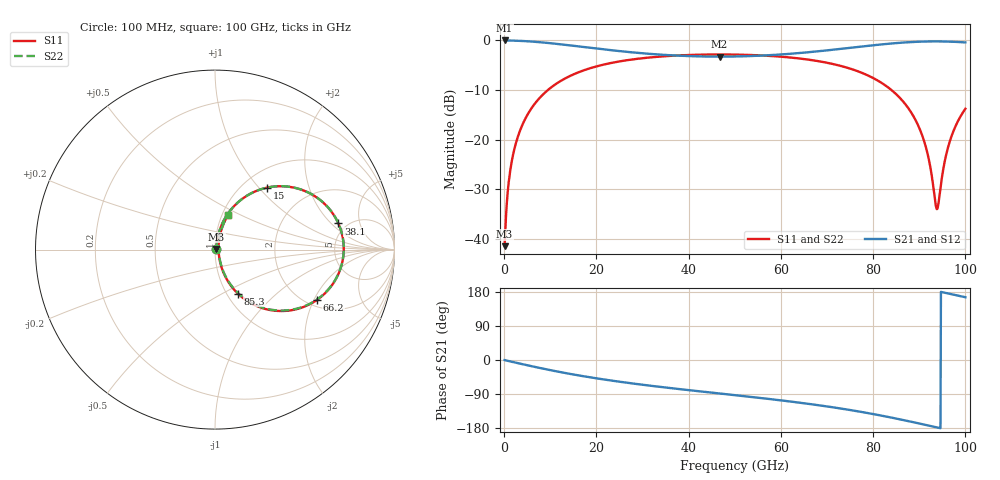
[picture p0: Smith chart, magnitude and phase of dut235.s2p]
! Touchstone file exported from HFSS 2026.1.0
!  File:  C:/ffzhzh/LocalFiles/Ansys_Project_Files/temp_train_RDL_235_1783501242_55944.aedt
!  Generated:  05:02:01 PM Jul  8, 2026
!  Design:  RDL
!  Project:  temp_train_RDL_235_1783501242_55944
! Variables:
!  h_bsmrdl = 2um
!  h_ox = 20um
!  h_rdl = 5um
!  h_sub = 80um
!  h_tmrdl = 2.74um
!  h_tsv = 80um
!  h_via = 3um
!  l_bsmrdl = 300um
!  l_sub = 1036.58um
!  l_tmrdl = 636.58um
!  m_sub = 200um
!  pitch = 46.65um
!  r_tsv = 6um
!  s_tmrdl = 10um
!  w_bsmrdl = 18um
!  w_sub = 500um
!  w_tmrdl = 10.79um
!  x_tsv_center1 = 641.975um
!  x_tsv_center2 = 959.975um
!  x_tsv_center3 = 1607.345um
!  x_tsv_center4 = 1925.345um
!  x_tsv_center5 = 2572.715um
!  x_tsv_center6 = 2890.715um
# GHz S MA R 50.000000
! Terminal data exported
! Port[1] = TM_RDL1_1_T1
! Port[2] = TM_RDL1_1_T2
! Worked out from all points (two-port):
!   1000 points, 100 MHz to 100 GHz, reference 50 ohm
!   highest |S21| = -0.07 dB at 100 MHz (marker M1); lowest = -3.3 dB at 46.7 GHz (marker M2)
!   |S21| within 3 dB of the highest: start of sweep to 36.55 GHz; 56.8 GHz to end of sweep
!   lowest |S11| = -41.4 dB at 100 MHz (marker M3), VSWR 1.02, Z = 50.8 + j0.378 ohm
!   |S11| at or under -10 dB: start of sweep to 9.533 GHz; 83.92 GHz to end of sweep
!   |S22| runs from -41.4 to -2.9 dB; largest |S21 - S12| = 1.8e-14
!   S11 on the Smith chart (normalised r, x): 100 MHz: 1.02, +0.01; 15 GHz: 1.28, +1.11; 38.1 GHz: 4.25, +2.45; 66.2 GHz: 2.27, -2.12; 85.3 GHz: 1.13, -0.60; 100 GHz: 1.07, +0.43
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0.1  0.008472 26.1  0.9924 -0.3  0.9924 -0.3  0.008472 26.1
! Gamma 0 0 0 0
! Port Impedance 50 0 50 0
0.9  0.03412 73.3  0.9911 -2.6  0.9911 -2.6  0.03411 73.3
1.5  0.05516 76.6  0.9897 -4.2  0.9897 -4.2  0.05516 76.6
3.9  0.1387 75.1  0.9806 -10.9  0.9806 -10.9  0.1387 75.1
8.3  0.2804 65.1  0.948 -22.5  0.948 -22.5  0.2804 65.1
15  0.4517 49.9  0.8774 -38.2  0.8774 -38.2  0.4517 49.9
16.8  0.4881 46.2  0.8575 -42.0  0.8575 -42.0  0.4881 46.2
33.4  0.6808 18.4  0.7171 -70.3  0.7171 -70.3  0.6808 18.6
38.1  0.7026 12.0  0.6968 -76.9  0.6968 -76.9  0.7025 12.1
46.7  0.7175 0.8  0.6825 -88.4  0.6825 -88.4  0.7175 1.0
50.1  0.7154 -3.6  0.6848 -92.8  0.6848 -92.8  0.7153 -3.4
66.2  0.6343 -26.1  0.7573 -116.1  0.7573 -116.1  0.6342 -25.8
66.7  0.6294 -26.9  0.7612 -116.9  0.7612 -116.9  0.6293 -26.6
75.9  0.501 -43.1  0.846 -133.8  0.846 -133.8  0.5009 -42.7
83.4  0.3304 -58.5  0.9203 -150.6  0.9203 -150.6  0.3303 -58.0
85.3  0.277 -62.4  0.9362 -155.3  0.9362 -155.3  0.277 -61.9
88.3  0.1856 -68.0  0.9563 -163.0  0.9563 -163.0  0.1856 -67.4
90.6  0.1112 -69.9  0.9663 -169.2  0.9663 -169.2  0.1113 -69.1
92  0.06554 -66.2  0.9697 -172.9  0.9697 -172.9  0.06568 -65.1
93.8  0.01999 -2.6  0.9709 -177.8  0.9709 -177.8  0.02076 -1.7
96.5  0.09206 71.5  0.966 174.9  0.966 174.9  0.09233 71.5
100  0.2041 69.3  0.9484 165.6  0.9484 165.6  0.2042 69.6
